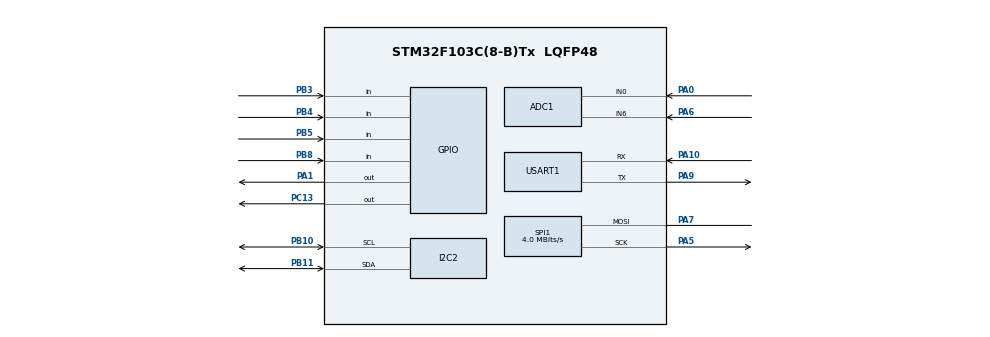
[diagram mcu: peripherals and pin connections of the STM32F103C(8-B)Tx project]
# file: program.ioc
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ADC1.Channel-3\#ChannelRegularConversion=ADC_CHANNEL_0
ADC1.ContinuousConvMode=ENABLE
ADC1.DataAlign=ADC_DATAALIGN_LEFT
ADC1.NbrOfConversionFlag=1
ADC1.Rank-3\#ChannelRegularConversion=1
ADC1.SamplingTime-3\#ChannelRegularConversion=ADC_SAMPLETIME_1CYCLE_5
ADC1.master=1
Mcu.Family=STM32F1
Mcu.Name=STM32F103C(8-B)Tx
Mcu.Package=LQFP48
NVIC.PriorityGroup=NVIC_PRIORITYGROUP_4
PA0-WKUP.Signal=ADCx_IN0
PA1.Signal=GPIO_Output
PA10.Mode=Asynchronous
PA10.Signal=USART1_RX
PA13.Mode=Serial_Wire
PA13.Signal=SYS_JTMS-SWDIO
PA14.Mode=Serial_Wire
PA14.Signal=SYS_JTCK-SWCLK
PA5.Mode=Simplex_Bidirectional_Master
PA5.Signal=SPI1_SCK
PA6.Signal=ADCx_IN6
PA7.Mode=Simplex_Bidirectional_Master
PA7.Signal=SPI1_MOSI
PA9.Mode=Asynchronous
PA9.Signal=USART1_TX
PB10.Mode=I2C
PB10.Signal=I2C2_SCL
PB11.Mode=I2C
PB11.Signal=I2C2_SDA
PB3.Signal=GPIO_Input
PB4.Signal=GPIO_Input
PB5.Signal=GPIO_Input
PB8.Signal=GPIO_Input
PC13-TAMPER-RTC.Signal=GPIO_Output
ProjectManager.HeapSize=0x200
ProjectManager.StackSize=0x400
ProjectManager.TargetToolchain=Makefile
RCC.APB1Freq_Value=8000000
RCC.APB2Freq_Value=8000000
SH.ADCx_IN0.0=ADC1_IN0,IN0
SH.ADCx_IN6.0=ADC1_IN6,IN6
SPI1.CalculateBaudRate=4.0 MBits/s
SPI1.Direction=SPI_DIRECTION_1LINE
SPI1.Mode=SPI_MODE_MASTER
SPI1.VirtualType=VM_MASTER
USART1.VirtualMode=VM_ASYNC
board=custom

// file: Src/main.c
/* USER CODE BEGIN Header */
/**
  ******************************************************************************
  * @file           : main.c
  * @brief          : Main program body
  ******************************************************************************
  ** This notice applies to any and all portions of this file
  * that are not between comment pairs USER CODE BEGIN and
  * USER CODE END. Other portions of this file, whether
  * inserted by the user or by software development tools
  * are owned by their respective copyright owners.
  *
  * COPYRIGHT(c) 2018 STMicroelectronics
  *
  * Redistribution and use in source and binary forms, with or without modification,
  * are permitted provided that the following conditions are met:
  *   1. Redistributions of source code must retain the above copyright notice,
  *      this list of conditions and the following disclaimer.
  *   2. Redistributions in binary form must reproduce the above copyright notice,
  *      this list of conditions and the following disclaimer in the documentation
  *      and/or other materials provided with the distribution.
  *   3. Neither the name of STMicroelectronics nor the names of its contributors
  *      may be used to endorse or promote products derived from this software
  *      without specific prior written permission.
  *
  * THIS SOFTWARE IS PROVIDED BY THE COPYRIGHT HOLDERS AND CONTRIBUTORS "AS IS"
  * AND ANY EXPRESS OR IMPLIED WARRANTIES, INCLUDING, BUT NOT LIMITED TO, THE
  * IMPLIED WARRANTIES OF MERCHANTABILITY AND FITNESS FOR A PARTICULAR PURPOSE ARE
  * DISCLAIMED. IN NO EVENT SHALL THE COPYRIGHT HOLDER OR CONTRIBUTORS BE LIABLE
  * FOR ANY DIRECT, INDIRECT, INCIDENTAL, SPECIAL, EXEMPLARY, OR CONSEQUENTIAL
  * DAMAGES (INCLUDING, BUT NOT LIMITED TO, PROCUREMENT OF SUBSTITUTE GOODS OR
  * SERVICES; LOSS OF USE, DATA, OR PROFITS; OR BUSINESS INTERRUPTION) HOWEVER
  * CAUSED AND ON ANY THEORY OF LIABILITY, WHETHER IN CONTRACT, STRICT LIABILITY,
  * OR TORT (INCLUDING NEGLIGENCE OR OTHERWISE) ARISING IN ANY WAY OUT OF THE USE
  * OF THIS SOFTWARE, EVEN IF ADVISED OF THE POSSIBILITY OF SUCH DAMAGE.
  *
  ******************************************************************************
  */
/* USER CODE END Header */

#include "../Inc/main.h"

/* USER CODE BEGIN Includes */
#include <stdint.h>
#include <errno.h>
#include <sys/unistd.h>
/* USER CODE END Includes */

/* USER CODE BEGIN PTD */
#define BUTTON_1 GPIOB, GPIO_PIN_3
#define BUTTON_2 GPIOB, GPIO_PIN_4
#define BUTTON_3 GPIOB, GPIO_PIN_5
#define BUTTON_4 GPIOB, GPIO_PIN_8
/* USER CODE END PTD */

ADC_HandleTypeDef hadc1;

I2C_HandleTypeDef hi2c2;

SPI_HandleTypeDef hspi1;

UART_HandleTypeDef huart1;

void SystemClock_Config(void);
static void MX_GPIO_Init(void);
static void MX_SPI1_Init(void);
static void MX_USART1_UART_Init(void);
static void MX_I2C2_Init(void);
static void MX_ADC1_Init(void);

int main(void)
{
  /* USER CODE BEGIN 1 */
  volatile uint8_t button1, button2, button3, button4;

  /* USER CODE END 1 */

  /* MCU Configuration--------------------------------------------------------*/

  /* Reset of all peripherals, Initializes the Flash interface and the Systick. */
  HAL_Init();

  /* Configure the system clock */
  SystemClock_Config();

  /* Initialize all configured peripherals */
  MX_GPIO_Init();
  MX_SPI1_Init();
  MX_USART1_UART_Init();
  MX_I2C2_Init();
  MX_ADC1_Init();
  /* USER CODE BEGIN 2 */

  HAL_GPIO_WritePin(GPIOA, GPIO_PIN_1, GPIO_PIN_RESET);
  HAL_ADC_Start(&hadc1);
  HAL_Delay(1000); // Startup Delay for ADC
  /* USER CODE END 2 */

  /* Infinite loop */
  /* USER CODE BEGIN WHILE */
  uint32_t adc_value = 0;// adc_min = UINT32_MAX, adc_max = 0;
  while (1)
  {
    /* USER CODE END WHILE */

    /* USER CODE BEGIN 3 */
    HAL_GPIO_TogglePin(GPIOC, GPIO_PIN_13);
    button1 = HAL_GPIO_ReadPin(BUTTON_1);
    button2 = HAL_GPIO_ReadPin(BUTTON_2);
    button3 = HAL_GPIO_ReadPin(BUTTON_3);
    button4 = HAL_GPIO_ReadPin(BUTTON_4);

    adc_value = HAL_ADC_GetValue(&hadc1);
    // if (adc_value < adc_min)
    //   adc_min = adc_value;
    // if (adc_value > adc_max)
    //   adc_max = adc_value;

    HAL_ADC_Start(&hadc1);

    printf("adc_value:%ld;buttons:%d%d%d%d\n", adc_value, button1, button2, button3, button4);
    // fflush(stdout);
    HAL_Delay(100);
  }
  /* USER CODE END 3 */
}

void SystemClock_Config(void)
{
  RCC_OscInitTypeDef RCC_OscInitStruct = {0};
  RCC_ClkInitTypeDef RCC_ClkInitStruct = {0};
  RCC_PeriphCLKInitTypeDef PeriphClkInit = {0};

  /**Initializes the CPU, AHB and APB busses clocks
  */
  RCC_OscInitStruct.OscillatorType = RCC_OSCILLATORTYPE_HSI;
  RCC_OscInitStruct.HSIState = RCC_HSI_ON;
  RCC_OscInitStruct.HSICalibrationValue = RCC_HSICALIBRATION_DEFAULT;
  RCC_OscInitStruct.PLL.PLLState = RCC_PLL_NONE;
  if (HAL_RCC_OscConfig(&RCC_OscInitStruct) != HAL_OK)
  {
    Error_Handler();
  }
  /**Initializes the CPU, AHB and APB busses clocks
  */
  RCC_ClkInitStruct.ClockType = RCC_CLOCKTYPE_HCLK|RCC_CLOCKTYPE_SYSCLK
                              |RCC_CLOCKTYPE_PCLK1|RCC_CLOCKTYPE_PCLK2;
  RCC_ClkInitStruct.SYSCLKSource = RCC_SYSCLKSOURCE_HSI;
  RCC_ClkInitStruct.AHBCLKDivider = RCC_SYSCLK_DIV1;
  RCC_ClkInitStruct.APB1CLKDivider = RCC_HCLK_DIV1;
  RCC_ClkInitStruct.APB2CLKDivider = RCC_HCLK_DIV1;

  if (HAL_RCC_ClockConfig(&RCC_ClkInitStruct, FLASH_LATENCY_0) != HAL_OK)
  {
    Error_Handler();
  }
  PeriphClkInit.PeriphClockSelection = RCC_PERIPHCLK_ADC;
  PeriphClkInit.AdcClockSelection = RCC_ADCPCLK2_DIV2;
  if (HAL_RCCEx_PeriphCLKConfig(&PeriphClkInit) != HAL_OK)
  {
    Error_Handler();
  }
}

static void MX_ADC1_Init(void)
{

  ADC_ChannelConfTypeDef sConfig = {0};

  /**Common config
  */
  hadc1.Instance = ADC1;
  hadc1.Init.ScanConvMode = ADC_SCAN_DISABLE;
  hadc1.Init.ContinuousConvMode = ENABLE;
  hadc1.Init.DiscontinuousConvMode = DISABLE;
  hadc1.Init.ExternalTrigConv = ADC_SOFTWARE_START;
  hadc1.Init.DataAlign = ADC_DATAALIGN_RIGHT;
  hadc1.Init.NbrOfConversion = 1;
  if (HAL_ADC_Init(&hadc1) != HAL_OK)
  {
    Error_Handler();
  }
  /**Configure Regular Channel
  */
  sConfig.Channel = ADC_CHANNEL_0;
  sConfig.Rank = ADC_REGULAR_RANK_1;
  sConfig.SamplingTime = ADC_SAMPLETIME_1CYCLE_5;
  if (HAL_ADC_ConfigChannel(&hadc1, &sConfig) != HAL_OK)
  {
    Error_Handler();
  }

}

static void MX_I2C2_Init(void)
{

  hi2c2.Instance = I2C2;
  hi2c2.Init.ClockSpeed = 100000;
  hi2c2.Init.DutyCycle = I2C_DUTYCYCLE_2;
  hi2c2.Init.OwnAddress1 = 0;
  hi2c2.Init.AddressingMode = I2C_ADDRESSINGMODE_7BIT;
  hi2c2.Init.DualAddressMode = I2C_DUALADDRESS_DISABLE;
  hi2c2.Init.OwnAddress2 = 0;
  hi2c2.Init.GeneralCallMode = I2C_GENERALCALL_DISABLE;
  hi2c2.Init.NoStretchMode = I2C_NOSTRETCH_DISABLE;
  if (HAL_I2C_Init(&hi2c2) != HAL_OK)
  {
    Error_Handler();
  }

}

static void MX_SPI1_Init(void)
{

  /* SPI1 parameter configuration*/
  hspi1.Instance = SPI1;
  hspi1.Init.Mode = SPI_MODE_MASTER;
  hspi1.Init.Direction = SPI_DIRECTION_1LINE;
  hspi1.Init.DataSize = SPI_DATASIZE_8BIT;
  hspi1.Init.CLKPolarity = SPI_POLARITY_LOW;
  hspi1.Init.CLKPhase = SPI_PHASE_1EDGE;
  hspi1.Init.NSS = SPI_NSS_SOFT;
  hspi1.Init.BaudRatePrescaler = SPI_BAUDRATEPRESCALER_2;
  hspi1.Init.FirstBit = SPI_FIRSTBIT_MSB;
  hspi1.Init.TIMode = SPI_TIMODE_DISABLE;
  hspi1.Init.CRCCalculation = SPI_CRCCALCULATION_DISABLE;
  hspi1.Init.CRCPolynomial = 10;
  if (HAL_SPI_Init(&hspi1) != HAL_OK)
  {
    Error_Handler();
  }

}

static void MX_USART1_UART_Init(void)
{

  huart1.Instance = USART1;
  huart1.Init.BaudRate = 115200;
  huart1.Init.WordLength = UART_WORDLENGTH_8B;
  huart1.Init.StopBits = UART_STOPBITS_1;
  huart1.Init.Parity = UART_PARITY_NONE;
  huart1.Init.Mode = UART_MODE_TX_RX;
  huart1.Init.HwFlowCtl = UART_HWCONTROL_NONE;
  huart1.Init.OverSampling = UART_OVERSAMPLING_16;
  if (HAL_UART_Init(&huart1) != HAL_OK)
  {
    Error_Handler();
  }

}

static void MX_GPIO_Init(void)
{
  GPIO_InitTypeDef GPIO_InitStruct = {0};

  /* GPIO Ports Clock Enable */
  __HAL_RCC_GPIOC_CLK_ENABLE();
  __HAL_RCC_GPIOA_CLK_ENABLE();
  __HAL_RCC_GPIOB_CLK_ENABLE();

  /*Configure GPIO pin Output Level */
  HAL_GPIO_WritePin(GPIOC, GPIO_PIN_13, GPIO_PIN_RESET);

  /*Configure GPIO pin Output Level */
  HAL_GPIO_WritePin(GPIOA, GPIO_PIN_1, GPIO_PIN_RESET);

  /*Configure GPIO pin : PC13 */
  GPIO_InitStruct.Pin = GPIO_PIN_13;
  GPIO_InitStruct.Mode = GPIO_MODE_OUTPUT_PP;
  GPIO_InitStruct.Pull = GPIO_NOPULL;
  GPIO_InitStruct.Speed = GPIO_SPEED_FREQ_LOW;
  HAL_GPIO_Init(GPIOC, &GPIO_InitStruct);

  /*Configure GPIO pin : PA1 */
  GPIO_InitStruct.Pin = GPIO_PIN_1;
  GPIO_InitStruct.Mode = GPIO_MODE_OUTPUT_PP;
  GPIO_InitStruct.Pull = GPIO_NOPULL;
  GPIO_InitStruct.Speed = GPIO_SPEED_FREQ_LOW;
  HAL_GPIO_Init(GPIOA, &GPIO_InitStruct);

  /*Configure GPIO pins : PB3 PB4 PB5 PB8 */
  GPIO_InitStruct.Pin = GPIO_PIN_3|GPIO_PIN_4|GPIO_PIN_5|GPIO_PIN_8;
  GPIO_InitStruct.Mode = GPIO_MODE_INPUT;
  GPIO_InitStruct.Pull = GPIO_NOPULL;
  HAL_GPIO_Init(GPIOB, &GPIO_InitStruct);

}

/* USER CODE BEGIN 4 */
int fputc(int c, FILE *stream)
{
  HAL_UART_Transmit(&huart1, (uint8_t *)&c, 1, 1000);
  return 0;
}

int _write(int file, char *data, int len)
{
  if ((file != STDOUT_FILENO) && (file != STDERR_FILENO))
  {
    errno = EBADF;
    return -1;
  }

  HAL_StatusTypeDef status = HAL_UART_Transmit(&huart1, (uint8_t *)data, len, 1000);

  // return # of bytes written - as best we can tell
  return (status == HAL_OK ? len : 0);
}
/* USER CODE END 4 */

void Error_Handler(void)
{
}

/************************ (C) COPYRIGHT STMicroelectronics *****END OF FILE****/
